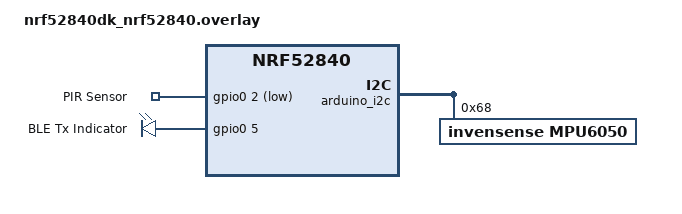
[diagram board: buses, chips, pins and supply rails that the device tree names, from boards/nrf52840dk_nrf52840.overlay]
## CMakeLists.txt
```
# SPDX-License-Identifier: MIT
cmake_minimum_required(VERSION 3.20)
find_package(Zephyr REQUIRED HINTS $ENV{ZEPHYR_BASE})
project(bthome_pir)
target_sources(app PRIVATE src/main.c)
```

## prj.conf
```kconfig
# ── Bluetooth ──────────────────────────────────────────────────────────────
CONFIG_BT=y
CONFIG_BT_PERIPHERAL=y
CONFIG_BT_DEVICE_NAME="MAKE-PIR"

# ── BThome V2 library ───────────────────────────────────────────────────────
CONFIG_BTHOME_V2=y

# ── GPIO ────────────────────────────────────────────────────────────────────
CONFIG_GPIO=y

# ── Logging (enabled by default for development on nRF52840-DK) ─────────────
# Overridden to CONFIG_LOG=n in boards/xiao_ble*.conf to eliminate the UART
# HFCLK drain on XIAO targets.
CONFIG_LOG=y

# ── Power Management ────────────────────────────────────────────────────────
# CONFIG_PM is intentionally NOT set — on nRF52, HAS_PM is never selected, so
# it would be silently ignored. The CPU enters System ON / CPU asleep (WFI)
# via the kernel idle thread automatically.
#
# CONFIG_PM_DEVICE=y  → device PM framework; aligns with 020 (same sleep path)
# CONFIG_TICKLESS_KERNEL=y → SysTick stops during sleep (~300 µA saved on DK)
# CONFIG_EVENTS=y     → k_event_t used for PIR ISR → main-thread signaling
CONFIG_PM_DEVICE=y
CONFIG_TICKLESS_KERNEL=y
CONFIG_EVENTS=y

# ── Stack sizes ──────────────────────────────────────────────────────────────
CONFIG_MAIN_STACK_SIZE=2048
CONFIG_BT_RX_STACK_SIZE=1024
CONFIG_IDLE_STACK_SIZE=512
```

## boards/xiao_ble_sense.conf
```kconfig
# Seeed XIAO nRF52840 Sense — board-specific config for 100_bthome_pir
#
# The XIAO nRF52840 has NO external 32.768 kHz crystal.
# The internal RC oscillator (LFRC) is mandatory for BLE.
CONFIG_CLOCK_CONTROL_NRF_K32SRC_RC=y

# ── Power saving: Serial / USB / Log ─────────────────────────────────────────
# Board defconfig (xiao_ble_defconfig) enables USB + UART + CONSOLE by default.
# All three hold the 16 MHz HFCLK and must be disabled to reach µA-range idle.
#
#   USB_DEVICE_STACK=y  → ~1.1 mA  (USB SOF IRQ every 1 ms, keeps HFXO alive)
#   SERIAL=y            → ~1.0 mA  (UARTE0 keeps HFINT oscillator running)
CONFIG_USB_DEVICE_STACK=n
CONFIG_USB_CDC_ACM=n
CONFIG_SERIAL=n
CONFIG_CONSOLE=n
CONFIG_UART_CONSOLE=n
CONFIG_LOG=n

# ── MPSL / HFCLK Hinweis ──────────────────────────────────────────────────
# CONFIG_BT_UNINIT_MPSL_ON_DISABLE=y wird hier NICHT gesetzt!
#
# Dieses Sample nutzt System ON / CPU asleep (WFI), KEIN System OFF.
# BT_UNINIT_MPSL_ON_DISABLE ruft mpsl_lib_uninit() auf, was den MPSL-Clock-
# Arbiter entfernt.  Wenn danach die Zephyr-RC-Kalibrierung (~alle 4 s) feuert,
# gibt es keinen Arbiter mehr, der HFCLK nach der Kalibrierung wieder freigibt
# → HFCLK bleibt dauerhaft aktiv → ~400 µA Floor ab ca. Sekunde 10.
#
# Ohne BT_UNINIT_MPSL_ON_DISABLE: bt_disable() gibt HFCLK frei, MPSL bleibt
# aber initialisiert und verwaltet die RC-Kalibrierung selbst korrekt.
# Ergebnis: CPU im WFI-Sleep mit LFRC → ~10–15 µA.
#
# BT_UNINIT_MPSL_ON_DISABLE ist nur für System OFF nötig (z. B. Sample 099).
```

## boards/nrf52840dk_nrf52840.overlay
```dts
/* SPDX-License-Identifier: MIT */
/*
 * BThome PIR overlay for nRF52840-DK
 *
 * PIR            : P0.02 (Edge connector P6 pin 5 / AIN0), active-low, pull-up.
 * IMU            : MPU-6050 on i2c0 — SDA = P0.07, SCL = P0.27 (Arduino D15).
 *                  Default i2c0 SDA (P0.26 / Arduino D14) is re-routed to P0.07.
 * BLE Tx indicator: P0.05 (uart0 RTS — disable UART hardware flow control).
 */

#include <zephyr/dt-bindings/pinctrl/nrf-pinctrl.h>

/* ── Override i2c0 pinctrl (SDA: P0.26 → P0.07) ─────────────────────────── */
&pinctrl {
	i2c0_default: i2c0_default {
		group1 {
			psels = <NRF_PSEL(TWIM_SDA, 0, 7)>,
			        <NRF_PSEL(TWIM_SCL, 0, 27)>;
		};
	};

	i2c0_sleep: i2c0_sleep {
		group1 {
			psels = <NRF_PSEL(TWIM_SDA, 0, 7)>,
			        <NRF_PSEL(TWIM_SCL, 0, 27)>;
			low-power-enable;
		};
	};
};

/* ── MPU-6050 on i2c0 (arduino_i2c) ─────────────────────────────────────── */
&arduino_i2c {
	mpu6050: mpu6050@68 {
		compatible = "invensense,mpu6050";
		reg = <0x68>;
		status = "okay";
	};
};

/* ── PIR sensor + BLE Tx indicator ──────────────────────────────────────── */
/ {
	pir_inputs: pir_inputs {
		compatible = "gpio-keys";
		pir0: pir_0 {
			/* gpios = <&gpio0 11 (GPIO_ACTIVE_LOW | GPIO_PULL_UP)>; // SW1 on the DK for testing */
			gpios = <&gpio0 2 (GPIO_ACTIVE_LOW | GPIO_PULL_UP)>;     // P0.02, same as XIAO D0
			label = "PIR Sensor";
		};
	};

	/* P0.05: HIGH during BLE Tx, LOW otherwise.
	 * P0.05 is also uart0 RTS — disable UART hardware flow control. */
	active_ind: active_indicator {
		compatible = "gpio-leds";
		active0: active_0 {
			gpios = <&gpio0 5 GPIO_ACTIVE_HIGH>;
			label = "BLE Tx Indicator";
		};
	};

	aliases {
		imu              = &mpu6050;
		pir-sensor       = &pir0;
		active-indicator = &active0;
	};
};
```

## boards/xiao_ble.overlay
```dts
/* SPDX-License-Identifier: MIT */
/*
 * BThome PIR overlay for Seeed XIAO nRF52840 (and Sense variant)
 *
 * PIR sensor signal pin → P0.02 (XIAO pin D0).
 * Active-high with internal pull-down.
 */
/ {
	pir_inputs: pir_inputs {
		compatible = "gpio-keys";
		pir0: pir_0 {
			gpios = <&gpio0 2 (GPIO_ACTIVE_HIGH | GPIO_PULL_DOWN)>;
			label = "PIR Sensor";
		};
	};

	aliases {
		pir-sensor = &pir0;
	};
};
```

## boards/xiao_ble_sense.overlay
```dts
/* SPDX-License-Identifier: MIT */
/*
 * BThome PIR overlay for Seeed XIAO nRF52840 Sense
 *
 * IMU            : LSM6DS3TR-C (internal) on i2c0 — SDA = P0.07, SCL = P0.27.
 *                  Device node is already defined in xiao_ble_nrf52840_sense.dts.
 * PIR            : P0.02 (XIAO pin D0), active-high, pull-down.
 * BLE Tx indicator: P0.05 (XIAO pin D5 / i2c1 SCL).
 *                   i2c1 is disabled to free P0.05 as GPIO.
 */
/ {
	pir_inputs: pir_inputs {
		compatible = "gpio-keys";
		pir0: pir_0 {
			gpios = <&gpio0 2 (GPIO_ACTIVE_HIGH | GPIO_PULL_DOWN)>;
			label = "PIR Sensor";
		};
	};

	/* P0.05 (D5): HIGH during BLE Tx, LOW otherwise.
	 * i2c1 (P0.04=SDA, P0.05=SCL) must be disabled to use this pin as GPIO. */
	active_ind: active_indicator {
		compatible = "gpio-leds";
		active0: active_0 {
			gpios = <&gpio0 5 GPIO_ACTIVE_HIGH>;
			label = "BLE Tx Indicator";
		};
	};

	aliases {
		imu              = &lsm6ds3tr_c;
		pir-sensor       = &pir0;
		active-indicator = &active0;
	};
};

/* Disable i2c1 (P0.04=SDA, P0.05=SCL) to free P0.05 as GPIO. */
&i2c1 {
	status = "disabled";
};

/* Disable QSPI flash peripheral — nrfx_qspi_init() holds HFCLK permanently
 * even when no data is transferred (~200 µA at idle). */
&qspi {
	status = "disabled";
};

/* ── Power-gate: MIC PDM (P1.10) and IMU LSM6DS3 (P1.08) ────────────────
 * NOTE: P0.25 = QSPI_CSN (aktiv-LOW) — NOT a power-rail enable!
 * Hogging P0.25 LOW asserts chip-select permanently → ~600 µA drain.
 * Flash Deep Power-Down (0xB9) is sent via GPIO bit-bang in main.c
 * before the first bt_enable() call.
 * P1.10: dedicated VCC_MIC enable → LOW = mic powered off.
 * P1.08: controlled by the lsm6ds3tr-c-en regulator node (see below).
 *        No gpio-hog here to avoid double-ownership with the regulator. */
&gpio1 {
	pwr-mic {
		gpio-hog;
		gpios = <10 GPIO_ACTIVE_HIGH>;
		output-low;
		line-name = "MIC Power";
	};
};

/* ── IMU regulator: remove regulator-boot-on ─────────────────────────────
 * Without boot-on the regulator_fixed driver configures P1.08 as
 * GPIO_OUTPUT_INACTIVE (= LOW for ACTIVE_HIGH) → LSM6DS3 powered off.
 * i2c0 is disabled so no sensor driver ever requests the regulator. */
&{/lsm6ds3tr-c-en} {
	/delete-property/ regulator-boot-on;
};

/* Disable i2c0 (IMU bus, P0.07=SDA, P0.27=SCL) — not needed in this sample.
 * Also ensures lsm6dsl driver cannot probe and request the regulator. */
&i2c0 {
	status = "disabled";
};
```

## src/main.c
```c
/* SPDX-License-Identifier: MIT */
/*
 * Copyright (c) 2026 Daniel Glaser
 *
 * BThome V2 PIR Sample
 * ====================
 * Detects motion via a PIR sensor and advertises via BThome V2 BLE.
 *
 * Power strategy — System ON / CPU asleep (~3–15 µA):
 * ────────────────────────────────────────────────────
 * nRF52840 System OFF (~0.5 µA) is NOT used: nrf_power_system_off() falls
 * into while(true){__WFE()} after writing SYSTEMOFF=1, and MPSL generates
 * DPPI events that immediately wake __WFE() — the chip never actually
 * reaches System OFF.
 *
 * Instead, the same approach as sample 020 is used:
 *   bt_disable() releases the HFCLK held by the BLE controller (~640 µA).
 *   k_event_wait(timeout) parks the CPU in WFI via the Zephyr idle thread.
 *   With HFCLK released and CPU in WFI the nRF52840 draws ~3–15 µA.
 *
 * Two wake sources (both in System ON):
 *   PIR active-level PORT event → sets EVENT_PIR in ISR
 *   k_event_wait timeout             → keepalive advertisement
 *
 * Per-cycle sequence:
 *   k_event_wait(EVENT_PIR, K_MSEC(ADV_SLOW_INTERVAL_MS)) [CPU sleeps here]
 *   bt_enable(NULL)
 *   adv_send(motion, pkt_id++)
 *   k_sleep(burst or confirm window)
 *   bt_le_adv_stop() + bt_disable()                       [releases HFCLK]
 *   → back to k_event_wait
 *
 * Build (nRF52840-DK):
 *   west build -b nrf52840dk/nrf52840 samples/100_bthome_pir
 *
 * Build (Seeed XIAO nRF52840 Sense):
 *   west build -b xiao_ble_sense samples/100_bthome_pir
 *
 * Verify with bthome-logger:
 *   uv tool install bthome-logger && bthome-logger -f "MAKE"
 */

#include <zephyr/kernel.h>
#include <zephyr/logging/log.h>
#include <zephyr/bluetooth/bluetooth.h>
#include <zephyr/bluetooth/hci.h>
#include <zephyr/drivers/gpio.h>
#include <hal/nrf_gpio.h>

#include <bthome_v2/bthome_v2.h>

LOG_MODULE_REGISTER(bthome_pir, LOG_LEVEL_INF);

/* ── P25Q16H QSPI-Flash Deep Power-Down via GPIO Bit-Bang ────────────────
 * P0.25 = QSPI_CSN (aktiv-LOW), P0.21 = SCK, P0.20 = IO0/MOSI
 * Einmalig beim Start aufrufen, bevor bt_enable() den HFXO aktiviert.
 * Danach bleibt der Flash in DPD bis zum nächsten Power-Cycle.
 */
#define FLASH_PIN_MOSI  20u
#define FLASH_PIN_SCK   21u
#define FLASH_PIN_CSN   25u
#define FLASH_CMD_DPD   0xB9u

static void flash_deep_power_down(void)
{
	nrf_gpio_cfg_output(FLASH_PIN_CSN);
	nrf_gpio_cfg_output(FLASH_PIN_SCK);
	nrf_gpio_cfg_output(FLASH_PIN_MOSI);

	nrf_gpio_pin_set(FLASH_PIN_CSN);
	nrf_gpio_pin_clear(FLASH_PIN_SCK);
	nrf_gpio_pin_clear(FLASH_PIN_MOSI);

	nrf_gpio_pin_clear(FLASH_PIN_CSN);  /* CS assertieren */

	for (int i = 7; i >= 0; i--) {
		nrf_gpio_pin_write(FLASH_PIN_MOSI, (FLASH_CMD_DPD >> i) & 1u);
		nrf_gpio_pin_set(FLASH_PIN_SCK);
		nrf_gpio_pin_clear(FLASH_PIN_SCK);
	}

	nrf_gpio_pin_set(FLASH_PIN_CSN);    /* CS deassertieren → DPD aktiv */
	k_busy_wait(10u);                   /* t_enter_dpd = 3 µs min */
}

/* ── Timing ──────────────────────────────────────────────────────────────── */
/** Duration in ms for which motion=1 burst advertising is active. */
#define BURST_DURATION_MS       2000U
/** Duration in ms of the short motion=0 confirmation window. */
#define ADV_CONFIRM_MS          150U
/** Keepalive interval: how long the CPU sleeps between advertisements. */
#define ADV_SLOW_INTERVAL_MS    30000U

/* ── BLE advertising parameters ─────────────────────────────────────────── */
#define ADV_FAST_INTERVAL_MS  50U
#define ADV_FAST_INT          (ADV_FAST_INTERVAL_MS * 8U / 5U)  /* BLE units */

static const struct bt_le_adv_param adv_fast =
	BT_LE_ADV_PARAM_INIT(BT_LE_ADV_OPT_USE_IDENTITY,
			     ADV_FAST_INT, ADV_FAST_INT, NULL);

/* ── BThome V2 context ───────────────────────────────────────────────────── */
static struct bthome_v2_ctx bthome;
static struct bt_data ad[3];   /* flags, complete name, service data */

/* ── PIR GPIO ────────────────────────────────────────────────────────────── */
static const struct gpio_dt_spec pir =
	GPIO_DT_SPEC_GET(DT_ALIAS(pir_sensor), gpios);

/* ── Active indicator (alias "active-indicator" = D5 = P0.05) ──────────── */
#if DT_NODE_HAS_STATUS(DT_ALIAS(active_indicator), okay)
static const struct gpio_dt_spec led_tx =
	GPIO_DT_SPEC_GET(DT_ALIAS(active_indicator), gpios);
#define HAS_LED_TX 1
#else
#define HAS_LED_TX 0
#endif

/* ── PIR event flag ──────────────────────────────────────────────────────── */
#define EVENT_PIR  BIT(0)
static K_EVENT_DEFINE(pir_evt);

/* ── PIR GPIO callback ───────────────────────────────────────────────────── */
static struct gpio_callback pir_cb_data;

static void pir_isr(const struct device *dev, struct gpio_callback *cb,
		    uint32_t pins)
{
	ARG_UNUSED(dev);
	ARG_UNUSED(cb);
	ARG_UNUSED(pins);
	/*
	 * Disable interrupt immediately: PORT event (LEVEL trigger) would
	 * re-fire continuously as long as PIR is HIGH.  Re-armed at the
	 * end of each advertising cycle via gpio_pin_interrupt_configure_dt.
	 */
	gpio_pin_interrupt_configure_dt(&pir, GPIO_INT_DISABLE);
	k_event_set(&pir_evt, EVENT_PIR);
}

/* ── Packet counter ──────────────────────────────────────────────────────── */
static uint8_t pkt_id;

/* ── Core advertising helper ─────────────────────────────────────────────── */
static void adv_send(bool motion)
{
	int err;

	bt_le_adv_stop();

	bthome_v2_clear(&bthome);
	bthome_v2_add_packet_id(&bthome, pkt_id++);
	bthome_v2_add_binary(&bthome, BTHOME_OBJ_MOTION, motion);
	bthome_v2_encode(&bthome);
	bthome_v2_get_bt_data(&bthome, &ad[2]);

	err = bt_le_adv_start(&adv_fast, ad, ARRAY_SIZE(ad), NULL, 0);
	if (err) {
		LOG_ERR("bt_le_adv_start failed: %d", err);
	} else {
		LOG_INF("ADV: motion=%d pkt_id=%u", (int)motion, pkt_id - 1);
	}
}

/* ── main ────────────────────────────────────────────────────────────────── */
int main(void)
{
	int ret;

	LOG_INF("BThome PIR starting");

	/* ── Flash in Deep Power-Down versetzen (vor bt_enable) ─────────── */
	flash_deep_power_down();

	/* ── GPIO init ──────────────────────────────────────────────────── */
	if (!gpio_is_ready_dt(&pir)) {
		LOG_ERR("PIR GPIO not ready");
		return -ENODEV;
	}
	gpio_pin_configure_dt(&pir, GPIO_INPUT);
	gpio_init_callback(&pir_cb_data, pir_isr, BIT(pir.pin));
	gpio_add_callback_dt(&pir, &pir_cb_data);
	/* Interrupt wird erst nach der initialen Werbephase scharf gestellt */

#if HAS_LED_TX
	if (gpio_is_ready_dt(&led_tx)) {
		gpio_pin_configure_dt(&led_tx, GPIO_OUTPUT_INACTIVE);
	}
#endif

	/* ── BThome context + static ad[] headers ───────────────────────── */
	bthome_v2_init(&bthome, false, false);

	ad[0] = (struct bt_data) BT_DATA_BYTES(BT_DATA_FLAGS,
			BT_LE_AD_GENERAL | BT_LE_AD_NO_BREDR);
	ad[1] = (struct bt_data) BT_DATA(BT_DATA_NAME_COMPLETE,
			CONFIG_BT_DEVICE_NAME,
			sizeof(CONFIG_BT_DEVICE_NAME) - 1);

	/* ── Enable BT once ─────────────────────────────────────────────── */
	ret = bt_enable(NULL);
	if (ret) {
		LOG_ERR("bt_enable failed: %d", ret);
		return ret;
	}

	/* ── Initial keepalive advertisement ────────────────────────────── */
#if HAS_LED_TX
	gpio_pin_set_dt(&led_tx, 1);
#endif
	adv_send(false);
	k_sleep(K_MSEC(ADV_CONFIRM_MS));
	bt_le_adv_stop();
	bt_disable();
#if HAS_LED_TX
	gpio_pin_set_dt(&led_tx, 0);
#endif

	/* ── Main loop ──────────────────────────────────────────────────── */
	while (true) {
		/* PIR-Interrupt scharf stellen, dann CPU schlafen legen.
		 * GPIO_INT_LEVEL_ACTIVE feuert solange PIR HIGH ist; die ISR
		 * disarmt sich sofort selbst (GPIO_INT_DISABLE), damit der
		 * PORT-Event nicht dauerhaft neu ausgelöst wird.
		 * k_event_wait() gibt die CPU an den Idle-Thread → WFI.
		 */
		gpio_pin_interrupt_configure_dt(&pir, GPIO_INT_LEVEL_ACTIVE);
		uint32_t evts = k_event_wait(&pir_evt, EVENT_PIR, true,
					     K_MSEC(ADV_SLOW_INTERVAL_MS));
		bool motion = (evts & EVENT_PIR) != 0;

#if HAS_LED_TX
		gpio_pin_set_dt(&led_tx, 1);
#endif

		/* Re-enable BT for this advertising window */
		ret = bt_enable(NULL);
		if (ret) {
			LOG_ERR("bt_enable failed: %d", ret);
			goto sleep_again;
		}

		if (motion) {
			adv_send(true);
			k_sleep(K_MSEC(BURST_DURATION_MS));
			adv_send(false);
		} else {
			adv_send(false);
		}

		k_sleep(K_MSEC(ADV_CONFIRM_MS));
		bt_le_adv_stop();
		bt_disable();  /* releases HFCLK → CPU can enter deep WFI */

sleep_again:
#if HAS_LED_TX
		gpio_pin_set_dt(&led_tx, 0);
#endif
	}

	return 0;
}
```
